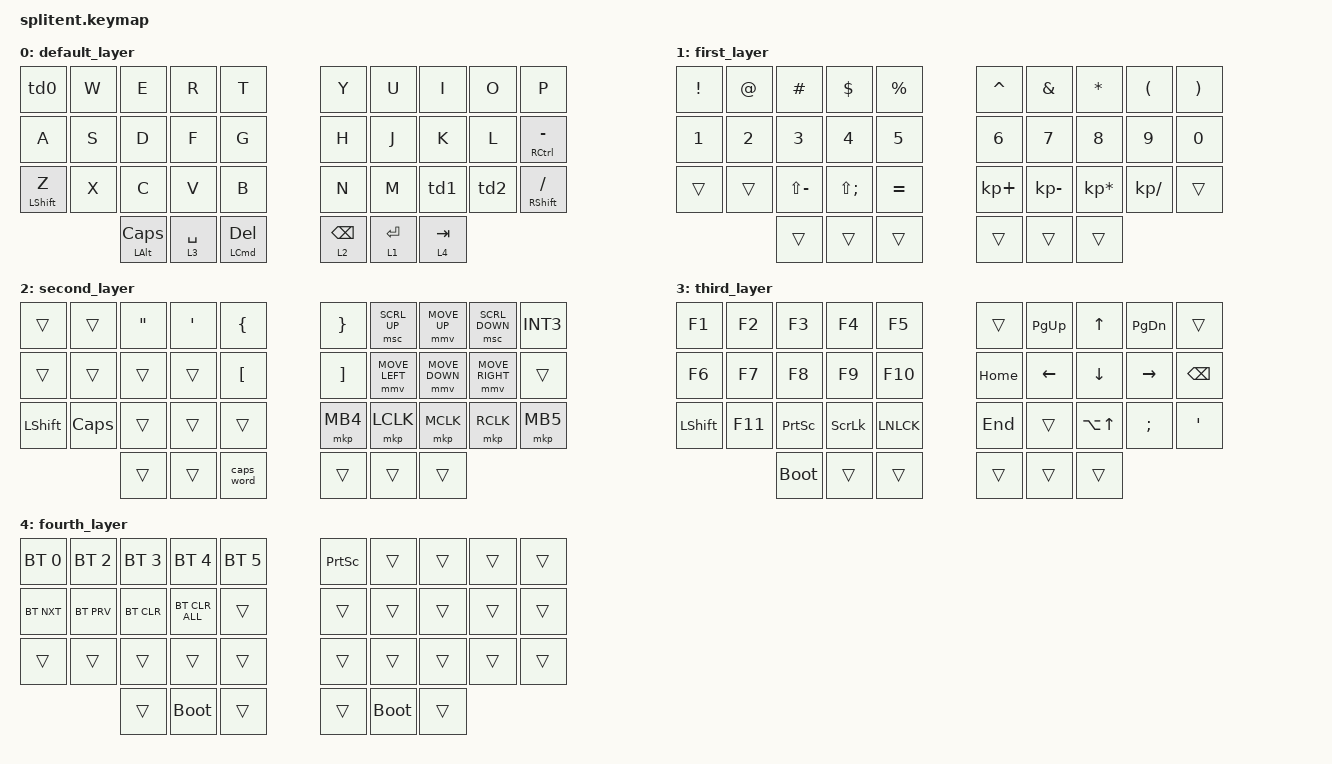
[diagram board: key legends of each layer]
#include <behaviors.dtsi>
#include <dt-bindings/zmk/keys.h>
#include <dt-bindings/zmk/bt.h>
#include <dt-bindings/zmk/outputs.h>
#include <dt-bindings/zmk/pointing.h>

&lt {
  quick-tap-ms = <180>;
  flavor = "tap-preferred";
};

&mt {
  quick-tap-ms = <180>;
  flavor = "tap-preferred";
};

/ {
    behaviors {
        rpi: require_prior_idle {
            compatible = "zmk,behavior-hold-tap";
            #binding-cells = <2>;
            flavor = "tap-preferred";
            tapping-term-ms = <200>;
            quick-tap-ms = <200>;
            require-prior-idle-ms = <125>;
            bindings = <&kp>, <&kp>;
        };
        td0: tap_dance_0 {
            compatible = "zmk,behavior-tap-dance";
            #binding-cells = <0>;
            tapping-term-ms = <180>;
            bindings = <&mt LCTRL Q>, <&kp ESC>;
        };
        td1: tap_dance_1 {
            compatible = "zmk,behavior-tap-dance";
            #binding-cells = <0>;
            tapping-term-ms = <180>;
            bindings = <&kp COMMA>, <&kp SEMI>;
        };
        td2: tap_dance_2 {
            compatible = "zmk,behavior-tap-dance";
            #binding-cells = <0>;
            tapping-term-ms = <180>;
            bindings = <&kp DOT>, <&kp COLON>;
        };
      };
  
    combos {
        compatible = "zmk,combos";
        combo_esc {
            timeout-ms = <50>;
            key-positions = <21 30>;
            bindings = <&caps_word>;
        };
    };

  keymap {
    compatible = "zmk,keymap";

    default_layer {
      bindings = <
        &td0          &kp W    &kp E    &kp R    &kp T             &kp Y    &kp U    &kp I     &kp O   &kp P    
        &kp A         &kp S    &kp D    &kp F    &kp G             &kp H    &kp J    &kp K     &kp L   &rpi RCTRL MINUS 
        &rpi LSHIFT Z &kp X    &kp C    &kp V    &kp B             &kp N    &kp M    &td1      &td2    &rpi RSHIFT SLASH
              &mt LALT CAPS  &lt 3 SPACE  &mt LCMD DEL             &lt 2 BSPC  &lt 1 RET  &lt 4 TAB
      >;
		};

    first_layer {
      bindings = <
        &kp EXCL &kp AT  &kp HASH      &kp DLLR     &kp PRCNT      &kp CARET    &kp AMPS     &kp ASTRK       &kp LPAR      &kp RPAR
        &kp N1   &kp N2  &kp N3        &kp N4       &kp N5         &kp N6       &kp N7       &kp N8          &kp N9        &kp N0
        &trans   &trans  &kp LS(MINUS) &kp LS(SEMI) &kp EQUAL      &kp KP_PLUS  &kp KP_MINUS &kp KP_MULTIPLY &kp KP_DIVIDE &trans
                         &trans        &trans       &trans         &trans       &trans       &trans
      >;
    };

    second_layer {
      bindings = <
        &trans      &trans    &kp DQT   &kp SQT   &kp LBRC         &kp RBRC  &msc SCRL_UP   &mmv MOVE_UP   &msc SCRL_DOWN   &kp INT3
        &trans      &trans    &trans    &trans    &kp LBKT         &kp RBKT  &mmv MOVE_LEFT &mmv MOVE_DOWN &mmv MOVE_RIGHT  &trans
        &kp LSHIFT  &kp CAPS  &trans    &trans    &trans           &mkp MB4  &mkp LCLK      &mkp MCLK      &mkp RCLK        &mkp MB5
                              &trans    &trans    &caps_word       &trans    &trans         &trans
      >;
    };

    third_layer {
      bindings = <
        &kp F1     &kp F2    &kp F3    &kp F4   &kp F5             &trans   &kp PG_UP &kp UP     &kp PG_DN &trans
        &kp F6     &kp F7    &kp F8    &kp F9   &kp F10            &kp HOME &kp LEFT  &kp DOWN   &kp RIGHT &kp BSPC
        &kp LSHIFT &kp F11   &kp PSCRN &kp SLCK &kp LNLCK          &kp END  &trans    &kp LA(UP) &kp SEMI  &kp SQT
                          &bootloader  &trans   &trans             &trans   &trans    &trans
      >;
    };

    fourth_layer {
      bindings = <
        &bt BT_SEL 0 &bt BT_SEL 2 &bt BT_SEL 3 &bt BT_SEL 4   &bt BT_SEL 5      &kp PSCRN  &trans       &trans  &trans  &trans
        &bt BT_NXT   &bt BT_PRV   &bt BT_CLR   &bt BT_CLR_ALL &trans            &trans     &trans       &trans  &trans  &trans
        &trans       &trans       &trans       &trans         &trans            &trans     &trans       &trans  &trans  &trans
                                  &trans       &bootloader    &trans            &trans     &bootloader  &trans
      >;
    };

  };
};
